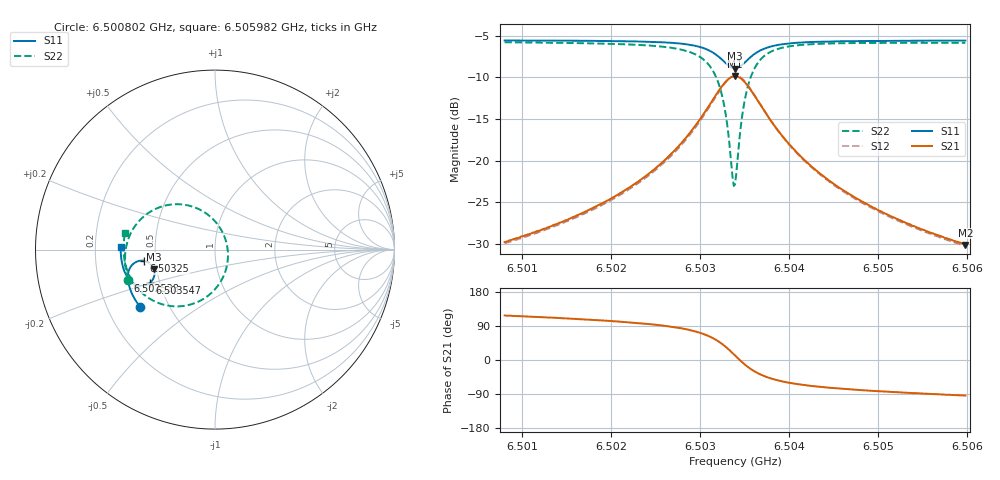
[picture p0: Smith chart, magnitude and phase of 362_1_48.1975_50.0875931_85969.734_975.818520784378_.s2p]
#  HZ  S  RI  R  50.00
! Rohde & Schwarz Vector Network Analyzer
! Rohde-Schwarz,ZNB20-2Port,1311601062101988,3.16
! Created: UTC 3/20/2024, 11:52:14 AM
! freq[Hz]  re:S11  im:S11  re:S21  im:S21  re:S12  im:S12  re:S22  im:S22
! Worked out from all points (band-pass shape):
!   401 points, 6.500802 GHz to 6.505982 GHz, reference 50 ohm
!   highest |S21| = -9.86 dB at 6.503392 GHz (marker M1); lowest = -30.1 dB at 6.505982 GHz (marker M2)
!   |S21| within 3 dB of the highest: 6.503133 GHz to 6.503651 GHz (518 kHz wide, 0.00796 % of centre)
!   lowest |S11| = -8.9 dB at 6.503392 GHz (marker M3), VSWR 2.11, Z = 24.1 - j6.1 ohm
!   |S11| at or under -10 dB: nowhere
!   |S22| runs from -23.0 to -5.8 dB; largest |S21 - S12| = 0.011
!   S11 on the Smith chart (normalised r, x): 6.500802 GHz: 0.34, -0.30; 6.502538 GHz: 0.33, -0.15; 6.50325 GHz: 0.43, -0.06; 6.503547 GHz: 0.44, -0.20; 6.505982 GHz: 0.31, +0.01
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6.5008025e9  -0.4194 -0.3183  -0.0151 0.0288  -0.0134 0.029  -0.4853 -0.1675
6.50167e9  -0.4578 -0.2552  -0.0145 0.0462  -0.0122 0.0459  -0.5011 -0.0777
6.5021491e9  -0.4753 -0.2137  -0.0119 0.0651  -0.00886 0.0641  -0.4993 -0.0116
6.5025375e9  -0.485 -0.1718  -0.00325 0.0939  0.000294 0.0917  -0.4815 0.0633
6.5027965e9  -0.4847 -0.1351  0.0151 0.128  0.019 0.1241  -0.4426 0.1356
6.5029778e9  -0.4737 -0.1019  0.0493 0.1636  0.0525 0.1584  -0.3754 0.2013
6.5031461e9  -0.4394 -0.069  0.1257 0.1967  0.1269 0.1904  -0.2353 0.2519
6.5031979e9  -0.4206 -0.0626  0.1642 0.1984  0.1649 0.1922  -0.1674 0.2495
6.5032497e9  -0.3976 -0.062  0.2096 0.1882  0.21 0.1828  -0.0891 0.2251
6.5033015e9  -0.3725 -0.0704  0.257 0.1609  0.2581 0.1561  -0.0102 0.1688
6.5033662e9  -0.3463 -0.0961  0.3044 0.0985  0.3067 0.0935  0.0607 0.0492
6.5033921e9  -0.3399 -0.1103  0.3145 0.0671  0.3174 0.0613  0.0717 -0.00926
6.5034051e9  -0.3381 -0.1179  0.3171 0.0506  0.3202 0.0444  0.0723 -0.0394
6.5034827e9  -0.3438 -0.1618  0.3007 -0.042  0.3027 -0.0517  0.0162 -0.2012
6.5035475e9  -0.3646 -0.1869  0.2591 -0.0952  0.2578 -0.106  -0.0777 -0.2824
6.5036511e9  -0.4031 -0.2019  0.1863 -0.1309  0.1811 -0.1401  -0.224 -0.3163
6.5038194e9  -0.4484 -0.1921  0.1064 -0.1283  0.0996 -0.1332  -0.368 -0.271
6.5040007e9  -0.4756 -0.1708  0.0629 -0.109  0.0567 -0.1112  -0.4388 -0.2074
6.5042596e9  -0.4961 -0.1408  0.0335 -0.0854  0.0288 -0.0858  -0.4814 -0.1364
6.5046481e9  -0.5117 -0.101  0.0147 -0.0629  0.0116 -0.0625  -0.5036 -0.0621
6.5051272e9  -0.5211 -0.0571  0.005 -0.0467  0.00277 -0.0461  -0.5095 0.00355
6.5059817e9  -0.5258 0.0148  -0.00204 -0.0312  -0.00337 -0.0306  -0.5014 0.092
